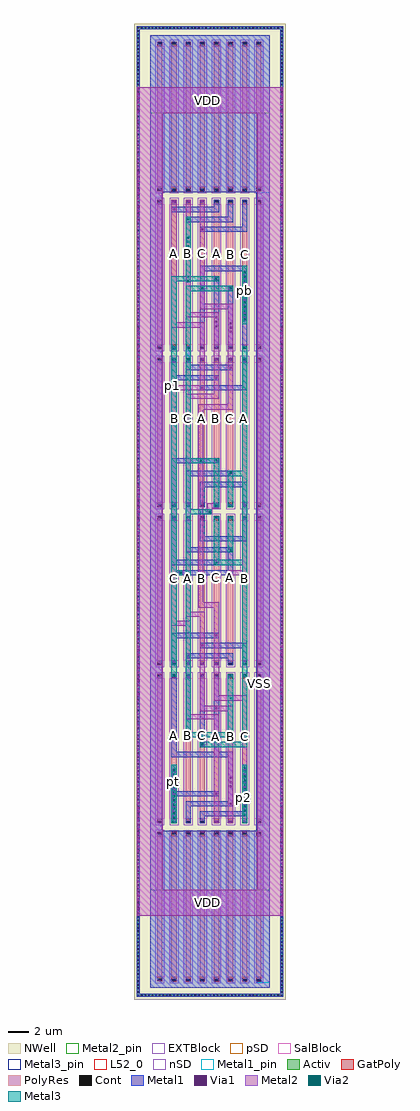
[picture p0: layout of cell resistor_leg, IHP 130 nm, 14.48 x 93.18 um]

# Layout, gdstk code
from math import pi, radians
import gdstk
lib = gdstk.Library(unit=1e-6, precision=1e-09)
def R(c, l, rs):  # rectangles x0, y0, x1, y1
    for r in rs: c.add(gdstk.rectangle(r[:2], r[2:], *l))
def A(c, l, x, y, w, h, nx, ny, dx, dy):  # array of equal rectangles
    R(c, l, [(x+i*dx, y+j*dy, x+i*dx+w, y+j*dy+h) for i in range(nx) for j in range(ny)])
def P(c, l, *ps):  # polygons
    for p in ps: c.add(gdstk.Polygon(p, *l))
Activ = (1, 0)
GatPoly = (5, 0)
Cont = (6, 0)
nSD = (7, 0)
Metal1 = (8, 0)
Metal1_pin = (8, 2)
Metal2 = (10, 0)
Metal2_pin = (10, 2)
pSD = (14, 0)
Via1 = (19, 0)
SalBlock = (28, 0)
Via2 = (29, 0)
Metal3 = (30, 0)
Metal3_pin = (30, 2)
NWell = (31, 0)
L52_0 = (52, 0)
EXTBlock = (111, 0)
PolyRes = (128, 0)

via_stack_1 = lib.new_cell('via_stack$1')
R(via_stack_1, Metal1, [(-0.145,-0.105,0.145,0.105)])
R(via_stack_1, Metal2, [(-0.145,-0.1,0.145,0.1)])
R(via_stack_1, Via1, [(-0.095,-0.095,0.095,0.095)])
R(via_stack_1, Via2, [(-0.095,-0.095,0.095,0.095)])
R(via_stack_1, Metal3, [(-0.145,-0.1,0.145,0.1)])

guard_ring = lib.new_cell('guard_ring')
R(guard_ring, Activ, [(-7,-46.05,-6.7,46.05), (6.7,-46.05,7,46.05), (-7,46.05,7,46.35)])
P(guard_ring, Activ, [(-7,-46.35),(-7,46.05),(-6.7,46.05),(-6.7,-46.05),(6.7,-46.05),(6.7,46.05),(-7,46.05),(-7,46.35),(7,46.35),(7,-46.35)])
A(guard_ring, Cont, -6.93, -46.28, 0.16, 0.16, 20, 2, 0.34, 92.4)
A(guard_ring, Cont, -0.03, -46.28, 0.16, 0.16, 21, 2, 0.34, 92.4)
A(guard_ring, Cont, -6.93, -45.94, 0.16, 0.16, 1, 135, 0, 0.34)
A(guard_ring, Cont, 6.77, -45.94, 0.16, 0.16, 1, 135, 0, 0.34)
A(guard_ring, Cont, -6.93, 0.22, 0.16, 0.16, 1, 135, 0, 0.34)
A(guard_ring, Cont, 6.77, 0.22, 0.16, 0.16, 1, 135, 0, 0.34)
R(guard_ring, Metal1, [(-7,-46.35,7,-46.05), (-7,-46.05,-6.7,46.05), (6.7,-46.05,7,46.05), (-7,46.05,7,46.35)])
R(guard_ring, NWell, [(-7.24,-46.59,7.24,46.59)])
guard_ring.add(gdstk.Label('well', (0,-46.2), layer=63, texttype=0))

via_stack_11 = lib.new_cell('via_stack$11')
R(via_stack_11, Metal1, [(-0.105,-2.4,0.105,2.4)])
R(via_stack_11, Metal2, [(-0.1,-2.4,0.1,2.4)])
A(via_stack_11, Via1, -0.095, -2.35, 0.19, 0.19, 1, 12, 0, 0.41)

rhigh = lib.new_cell('rhigh')
R(rhigh, GatPoly, [(0,-0.43,0.5,0), (0,13.42,0.5,13.85)])
R(rhigh, Cont, [(0.07,-0.36,0.43,-0.2), (0.07,13.62,0.43,13.78)])
R(rhigh, nSD, [(-0.18,-0.61,0.68,0.18), (-0.18,0,0.68,13.42), (-0.18,0,0.68,13.42), (-0.18,13.24,0.68,14.03)])
R(rhigh, Metal1, [(0.02,-0.41,0.48,-0.15), (0.02,13.57,0.48,13.83)])
R(rhigh, Metal1_pin, [(0.02,-0.41,0.48,-0.15), (0.02,13.57,0.48,13.83)])
R(rhigh, pSD, [(-0.18,-0.61,0.68,0.18), (-0.18,0,0.68,13.42), (-0.18,0,0.68,13.42), (-0.18,13.24,0.68,14.03)])
R(rhigh, SalBlock, [(-0.2,0,0.7,13.42)])
R(rhigh, L52_0, [(0,0,0.5,13.42)])
R(rhigh, EXTBlock, [(-0.18,-0.61,0.68,0.18), (-0.2,0,0.7,13.42), (-0.18,13.24,0.68,14.03)])
R(rhigh, PolyRes, [(0,0,0.5,13.42)])
rhigh.add(gdstk.Label('rhigh r=39996.522', (0.25,6.71), layer=63, texttype=0))
rhigh.add(gdstk.Label('rhigh', (0.25,6.71), layer=52, texttype=0))

via_stack = lib.new_cell('via_stack')
R(via_stack, Metal1, [(-0.145,-0.105,0.145,0.105)])
R(via_stack, Metal2, [(-0.145,-0.1,0.145,0.1)])
R(via_stack, Via1, [(-0.095,-0.095,0.095,0.095)])

via_stack_3 = lib.new_cell('via_stack$3')
R(via_stack_3, Metal2, [(-0.1,-0.35,0.1,0.35)])
R(via_stack_3, Via2, [(-0.095,-0.3,0.095,-0.11), (-0.095,0.11,0.095,0.3)])
R(via_stack_3, Metal3, [(-0.1,-0.35,0.1,0.35)])

via_stack_9 = lib.new_cell('via_stack$9')
R(via_stack_9, Metal1, [(-0.105,-0.555,0.105,0.555)])
R(via_stack_9, Metal2, [(-0.1,-0.555,0.1,0.555)])
A(via_stack_9, Via1, -0.095, -0.505, 0.19, 0.19, 1, 3, 0, 0.41)

via_stack_6 = lib.new_cell('via_stack$6')
R(via_stack_6, Metal2, [(-0.555,-0.1,0.555,0.1)])
A(via_stack_6, Via2, -0.505, -0.095, 0.19, 0.19, 3, 1, 0.41, 0)
R(via_stack_6, Metal3, [(-0.555,-0.1,0.555,0.1)])

via_stack_7 = lib.new_cell('via_stack$7')
R(via_stack_7, Metal2, [(-0.145,-0.1,0.145,0.1)])
R(via_stack_7, Via2, [(-0.095,-0.095,0.095,0.095)])
R(via_stack_7, Metal3, [(-0.145,-0.1,0.145,0.1)])

via_stack_8 = lib.new_cell('via_stack$8')
R(via_stack_8, Metal1, [(-0.105,-1.17,0.105,1.17)])
R(via_stack_8, Metal2, [(-0.1,-1.17,0.1,1.17)])
A(via_stack_8, Via1, -0.095, -1.12, 0.19, 0.19, 1, 6, 0, 0.41)

via_stack_10 = lib.new_cell('via_stack$10')
R(via_stack_10, Metal1, [(-0.105,-2.4,0.105,2.4)])
R(via_stack_10, Metal2, [(-0.1,-2.4,0.1,2.4)])
A(via_stack_10, Via1, -0.095, -2.35, 0.19, 0.19, 1, 12, 0, 0.41)
A(via_stack_10, Via2, -0.095, -2.35, 0.19, 0.19, 1, 12, 0, 0.41)
R(via_stack_10, Metal3, [(-0.1,-2.4,0.1,2.4)])

via_stack_4 = lib.new_cell('via_stack$4')
R(via_stack_4, Metal1, [(-0.555,-0.105,0.555,0.105)])
R(via_stack_4, Metal2, [(-0.555,-0.1,0.555,0.1)])
A(via_stack_4, Via1, -0.505, -0.095, 0.19, 0.19, 3, 1, 0.41, 0)

resistor_leg = lib.new_cell('resistor_leg')
R(resistor_leg, Metal1, [(23.385,-41.985,34.785,-41.51), (23.385,-41.51,24.05,33.94), (34,-41.51,34.785,48.915), (24.55,-41.01,33.5,-27.53), (25.4,-26.3,25.9,-20.73), (33.52,18.97,33.98,26.905), (23.385,33.94,24.05,48.915), (24.55,34.44,33.5,34.5), (24.05,34.5,34.2,47.92), (24.05,48.3,24.07,48.42), (33.98,48.3,34,48.915), (24.05,48.42,33.98,48.915)])
P(resistor_leg, Metal1, [(24.05,-41.51),(24.05,-27.53),(24.55,-27.53),(24.55,-41.01),(33.5,-41.01),(33.5,-27.53),(24.05,-27.53),(24.05,33.94),(24.55,33.94),(24.55,-27.03),(33.5,-27.03),(33.5,33.94),(24.05,33.94),(24.05,48.3),(24.55,48.3),(24.55,34.44),(33.5,34.44),(33.5,48.3),(34,48.3),(34,-41.51)],
  [(24.55,-29.08),(24.55,-27.53),(24.55,-27.53),(24.55,-29.08)])
R(resistor_leg, Metal1_pin, [(33.5,-41.525,34.785,-27.53), (33.5,-27.53,34.785,33.94)])
R(resistor_leg, Metal2, [(28.1,-18.925,28.6,-18.625), (26.75,-18,27.25,-17.7), (25.395,-12.34,25.895,-12.04), (30.8,-12.34,31.3,-12.04), (32.155,-12.34,32.655,-12.04), (26.16,-2.635,26.46,-2.135), (29.45,-1.625,29.95,-1.325), (30.8,-0.395,31.3,-0.095), (29.455,2.75,29.955,3.05), (30.81,2.75,31.31,3.05), (28.8,3.285,29.3,3.585), (29.455,3.86,29.955,4.16), (30.8,3.86,31.3,4.16), (30.8,7.005,31.3,7.305), (29.45,8.235,29.95,8.535), (25.395,18.95,25.895,19.25), (26.75,18.95,27.25,19.25), (32.155,18.95,32.655,19.25), (30.8,24.61,31.3,24.91), (29.45,25.535,29.95,25.835)])
R(resistor_leg, Metal2_pin, [(23.385,-35.13,34.785,-32.63), (23.385,41.47,34.785,43.97)])
R(resistor_leg, Metal3, [(25.4,-26.3,25.9,-20.73), (32.15,-26.3,32.65,-20.73), (32.15,21.335,32.65,26.905), (26.75,25.335,27.1,26.035), (26.75,25.335,27.25,26.035)])
P(resistor_leg, Metal3, [(34.785,-27.53),(34.785,-27.53),(34.785,-27.53),(34.785,-27.53)])
R(resistor_leg, Metal3_pin, [(25.4,-26.3,25.9,-20.73), (32.15,-26.3,32.65,-20.73), (25.4,13.4,25.9,18.97), (32.15,21.335,32.65,26.905), (32.15,21.335,32.65,26.905)])
resistor_leg.add(gdstk.FlexPath([(28.1,15.28),(31.05,15.28)], 0.5, ends="flush", simple_path=True, layer=8, datatype=0))  # Metal1
resistor_leg.add(gdstk.FlexPath([(31.05,15.28),(32.4,15.28),(32.4,18.12)], 0.5, ends="flush", simple_path=True, layer=8, datatype=0))  # Metal1
resistor_leg.add(gdstk.FlexPath([(29.95,16.23),(25.65,16.23)], 0.5, ends="flush", simple_path=True, layer=8, datatype=0))  # Metal1
resistor_leg.add(gdstk.FlexPath([(25.65,18.12),(25.65,15.98)], 0.5, ends="flush", simple_path=True, layer=8, datatype=0))  # Metal1
resistor_leg.add(gdstk.FlexPath([(29.95,-8.37),(27,-8.37)], 0.5, ends="flush", simple_path=True, layer=8, datatype=0))  # Metal1
resistor_leg.add(gdstk.FlexPath([(27,-8.37),(25.65,-8.37),(25.65,-11.21)], 0.5, ends="flush", simple_path=True, layer=8, datatype=0))  # Metal1
resistor_leg.add(gdstk.FlexPath([(28.1,-9.32),(32.4,-9.32)], 0.5, ends="flush", simple_path=True, layer=8, datatype=0))  # Metal1
resistor_leg.add(gdstk.FlexPath([(32.4,-11.21),(32.4,-9.07)], 0.5, ends="flush", simple_path=True, layer=8, datatype=0))  # Metal1
resistor_leg.add(gdstk.FlexPath([(26.75,-10.3),(31.05,-10.3)], 0.5, ends="flush", simple_path=True, layer=8, datatype=0))  # Metal1
resistor_leg.add(gdstk.FlexPath([(31.05,-11.21),(31.05,-10.05)], 0.5, ends="flush", simple_path=True, layer=8, datatype=0))  # Metal1
resistor_leg.add(gdstk.FlexPath([(29.95,-23.49),(25.4,-23.49)], 0.5, ends="flush", simple_path=True, layer=8, datatype=0))  # Metal1
resistor_leg.add(gdstk.FlexPath([(31.3,-24.44),(26.75,-24.44)], 0.5, ends="flush", simple_path=True, layer=8, datatype=0))  # Metal1
resistor_leg.add(gdstk.FlexPath([(32.65,-25.39),(28.1,-25.39)], 0.5, ends="flush", simple_path=True, layer=8, datatype=0))  # Metal1
resistor_leg.add(gdstk.FlexPath([(28.35,-26.3),(28.35,-25.14)], 0.5, ends="flush", simple_path=True, layer=8, datatype=0))  # Metal1
resistor_leg.add(gdstk.FlexPath([(27,-26.3),(27,-24.19)], 0.5, ends="flush", simple_path=True, layer=8, datatype=0))  # Metal1
resistor_leg.add(gdstk.FlexPath([(25.65,-26.3),(25.65,-23.24)], 0.5, ends="flush", simple_path=True, layer=8, datatype=0))  # Metal1
resistor_leg.add(gdstk.FlexPath([(31.3,17.21),(27,17.21)], 0.5, ends="flush", simple_path=True, layer=8, datatype=0))  # Metal1
resistor_leg.add(gdstk.FlexPath([(27,18.12),(27,16.96)], 0.5, ends="flush", simple_path=True, layer=8, datatype=0))  # Metal1
resistor_leg.add(gdstk.FlexPath([(31.05,18.97),(31.05,25.01)], 0.5, ends="flush", simple_path=True, layer=8, datatype=0))  # Metal1
resistor_leg.add(gdstk.FlexPath([(29.7,18.97),(29.7,25.935)], 0.5, ends="flush", simple_path=True, layer=8, datatype=0))  # Metal1
resistor_leg.add(gdstk.FlexPath([(32.4,18.97),(32.4,26.655),(28.35,26.655),(28.35,18.97)], 0.5, ends="flush", simple_path=True, layer=8, datatype=0))  # Metal1
resistor_leg.add(gdstk.FlexPath([(27,-12.06),(27,-18.1)], 0.5, ends="flush", simple_path=True, layer=8, datatype=0))  # Metal1
resistor_leg.add(gdstk.FlexPath([(28.35,-12.06),(28.35,-19.025)], 0.5, ends="flush", simple_path=True, layer=8, datatype=0))  # Metal1
resistor_leg.add(gdstk.FlexPath([(25.65,-12.06),(25.65,-19.745),(29.7,-19.745),(29.7,-12.06)], 0.5, ends="flush", simple_path=True, layer=8, datatype=0))  # Metal1
resistor_leg.add(gdstk.FlexPath([(32.4,3.03),(32.4,0.87),(28.35,0.87),(28.35,3.03)], 0.5, ends="flush", simple_path=True, layer=8, datatype=0))  # Metal1
resistor_leg.add(gdstk.FlexPath([(31.3,-0.185),(27,-0.185)], 0.5, ends="flush", simple_path=True, layer=8, datatype=0))  # Metal1
resistor_leg.add(gdstk.FlexPath([(27,-0.435),(27,3.03)], 0.5, ends="flush", simple_path=True, layer=8, datatype=0))  # Metal1
resistor_leg.add(gdstk.FlexPath([(29.95,-1.405),(25.65,-1.405)], 0.5, ends="flush", simple_path=True, layer=8, datatype=0))  # Metal1
resistor_leg.add(gdstk.FlexPath([(25.65,-1.655),(25.65,3.03)], 0.5, ends="flush", simple_path=True, layer=8, datatype=0))  # Metal1
resistor_leg.add(gdstk.FlexPath([(32.4,3.88),(32.4,6.04),(28.35,6.04),(28.35,3.88)], 0.5, ends="flush", simple_path=True, layer=8, datatype=0))  # Metal1
resistor_leg.add(gdstk.FlexPath([(31.3,7.095),(27,7.095)], 0.5, ends="flush", simple_path=True, layer=8, datatype=0))  # Metal1
resistor_leg.add(gdstk.FlexPath([(27,7.345),(27,3.88)], 0.5, ends="flush", simple_path=True, layer=8, datatype=0))  # Metal1
resistor_leg.add(gdstk.FlexPath([(29.95,8.315),(25.65,8.315)], 0.5, ends="flush", simple_path=True, layer=8, datatype=0))  # Metal1
resistor_leg.add(gdstk.FlexPath([(25.65,8.565),(25.65,3.88)], 0.5, ends="flush", simple_path=True, layer=8, datatype=0))  # Metal1
resistor_leg.add(gdstk.FlexPath([(29.195,3.435),(28.35,3.435),(28.35,2.77)], 0.5, ends="flush", simple_path=True, layer=8, datatype=0))  # Metal1
resistor_leg.add(gdstk.FlexPath([(31.05,0.06),(31.05,-2.385),(25.9,-2.385)], 0.5, ends="flush", simple_path=True, layer=8, datatype=0))  # Metal1
resistor_leg.add(gdstk.FlexPath([(27,17.86),(27,19.25)], 0.5, ends="flush", simple_path=True, layer=8, datatype=0))  # Metal1
resistor_leg.add(gdstk.FlexPath([(29.7,-19.745),(31.05,-19.745),(31.05,-24.69)], 0.5, ends="flush", simple_path=True, layer=8, datatype=0))  # Metal1
resistor_leg.add(gdstk.FlexPath([(24.07,48.17),(33.98,48.17)], 0.5, ends="flush", simple_path=True, layer=8, datatype=0))  # Metal1
resistor_leg.add(gdstk.FlexPath([(28.1,30.4),(32.65,30.4)], 0.5, ends="flush", simple_path=True, layer=8, datatype=0))  # Metal1
resistor_leg.add(gdstk.FlexPath([(26.75,31.35),(31.3,31.35)], 0.5, ends="flush", simple_path=True, layer=8, datatype=0))  # Metal1
resistor_leg.add(gdstk.FlexPath([(25.4,32.3),(29.95,32.3)], 0.5, ends="flush", simple_path=True, layer=8, datatype=0))  # Metal1
resistor_leg.add(gdstk.FlexPath([(29.7,33.21),(29.7,32.05)], 0.5, ends="flush", simple_path=True, layer=8, datatype=0))  # Metal1
resistor_leg.add(gdstk.FlexPath([(31.05,33.21),(31.05,31.1)], 0.5, ends="flush", simple_path=True, layer=8, datatype=0))  # Metal1
resistor_leg.add(gdstk.FlexPath([(32.4,33.21),(32.4,30.15)], 0.5, ends="flush", simple_path=True, layer=8, datatype=0))  # Metal1
resistor_leg.add(gdstk.FlexPath([(23.385,-33.88),(23.335,-33.88),(23.335,42.72),(23.385,42.72)], 2.5, ends="flush", simple_path=True, layer=10, datatype=0))  # Metal2
resistor_leg.add(gdstk.FlexPath([(34.785,42.72),(34.835,42.72),(34.835,-33.88),(34.785,-33.88)], 2.5, ends="flush", simple_path=True, layer=10, datatype=0))  # Metal2
resistor_leg.add(gdstk.FlexPath([(32.4,-21.47),(32.4,-26.3)], 0.5, ends="flush", simple_path=True, layer=10, datatype=0))  # Metal2
resistor_leg.add(gdstk.FlexPath([(28.35,18.12),(28.35,15.03)], 0.5, ends="flush", simple_path=True, layer=10, datatype=0))  # Metal2
resistor_leg.add(gdstk.FlexPath([(29.7,18.12),(29.7,15.98)], 0.5, ends="flush", simple_path=True, layer=10, datatype=0))  # Metal2
resistor_leg.add(gdstk.FlexPath([(31.05,18.12),(31.05,16.96)], 0.5, ends="flush", simple_path=True, layer=10, datatype=0))  # Metal2
resistor_leg.add(gdstk.FlexPath([(28.35,30.15),(28.35,23.03),(31.05,23.03),(31.05,17.86)], 0.5, ends="flush", simple_path=True, layer=10, datatype=0))  # Metal2
resistor_leg.add(gdstk.FlexPath([(25.65,28.38),(25.65,21.26),(28.35,21.26),(28.35,17.86)], 0.5, ends="flush", simple_path=True, layer=10, datatype=0))  # Metal2
resistor_leg.add(gdstk.FlexPath([(27,29.365),(27,22.245),(27,22.245),(29.7,22.245),(29.7,17.885)], 0.5, ends="flush", simple_path=True, layer=10, datatype=0))  # Metal2
resistor_leg.add(gdstk.FlexPath([(29.7,-11.21),(29.7,-8.12)], 0.5, ends="flush", simple_path=True, layer=10, datatype=0))  # Metal2
resistor_leg.add(gdstk.FlexPath([(28.35,-11.21),(28.35,-9.07)], 0.5, ends="flush", simple_path=True, layer=10, datatype=0))  # Metal2
resistor_leg.add(gdstk.FlexPath([(27,-11.21),(27,-10.05)], 0.5, ends="flush", simple_path=True, layer=10, datatype=0))  # Metal2
resistor_leg.add(gdstk.FlexPath([(29.7,-23.24),(29.7,-16.12),(27,-16.12),(27,-10.95)], 0.5, ends="flush", simple_path=True, layer=10, datatype=0))  # Metal2
resistor_leg.add(gdstk.FlexPath([(32.4,-21.47),(32.4,-14.35),(29.7,-14.35),(29.7,-10.95)], 0.5, ends="flush", simple_path=True, layer=10, datatype=0))  # Metal2
resistor_leg.add(gdstk.FlexPath([(31.05,-22.455),(31.05,-15.335),(31.05,-15.335),(28.35,-15.335),(28.35,-10.975)], 0.5, ends="flush", simple_path=True, layer=10, datatype=0))  # Metal2
resistor_leg.add(gdstk.FlexPath([(32.4,-26.3),(32.4,-25.14)], 0.5, ends="flush", simple_path=True, layer=10, datatype=0))  # Metal2
resistor_leg.add(gdstk.FlexPath([(31.05,-26.3),(31.05,-24.19)], 0.5, ends="flush", simple_path=True, layer=10, datatype=0))  # Metal2
resistor_leg.add(gdstk.FlexPath([(29.7,-26.3),(29.7,-23.24)], 0.5, ends="flush", simple_path=True, layer=10, datatype=0))  # Metal2
resistor_leg.add(gdstk.FlexPath([(31.05,-24.19),(31.05,-22.455)], 0.5, ends="flush", simple_path=True, layer=10, datatype=0))  # Metal2
resistor_leg.add(gdstk.FlexPath([(28.35,-9.57),(28.35,-6.355),(27,-6.355),(27,14.465),(29.7,14.465),(29.7,16.48)], 0.5, ends="flush", simple_path=True, layer=10, datatype=0))  # Metal2
resistor_leg.add(gdstk.FlexPath([(29.7,-8.12),(29.7,-5.455),(28.2,-5.455),(28.2,13.44),(31.05,13.44),(31.05,16.96)], 0.5, ends="flush", simple_path=True, layer=10, datatype=0))  # Metal2
resistor_leg.add(gdstk.FlexPath([(27,-10.05),(27,-7.205),(25.65,-7.205),(25.65,15.28),(28.6,15.28)], 0.5, ends="flush", simple_path=True, layer=10, datatype=0))  # Metal2
resistor_leg.add(gdstk.FlexPath([(30.945,-2.385),(32.4,-2.385),(32.4,4.14)], 0.5, ends="flush", simple_path=True, layer=10, datatype=0))  # Metal2
resistor_leg.add(gdstk.FlexPath([(29.05,3.285),(29.05,4.01),(29.955,4.01)], 0.5, ends="flush", simple_path=True, layer=10, datatype=0))  # Metal2
resistor_leg.add(gdstk.FlexPath([(25.65,33.21),(25.65,32.05)], 0.5, ends="flush", simple_path=True, layer=10, datatype=0))  # Metal2
resistor_leg.add(gdstk.FlexPath([(27,33.21),(27,31.1)], 0.5, ends="flush", simple_path=True, layer=10, datatype=0))  # Metal2
resistor_leg.add(gdstk.FlexPath([(28.35,33.21),(28.35,30.15)], 0.5, ends="flush", simple_path=True, layer=10, datatype=0))  # Metal2
resistor_leg.add(gdstk.FlexPath([(27,31.1),(27,29.365)], 0.5, ends="flush", simple_path=True, layer=10, datatype=0))  # Metal2
resistor_leg.add(gdstk.FlexPath([(25.65,32.05),(25.65,28.38)], 0.5, ends="flush", simple_path=True, layer=10, datatype=0))  # Metal2
resistor_leg.add(gdstk.FlexPath([(34.785,-33.88),(23.385,-33.88)], 2.5, ends="flush", simple_path=True, layer=10, datatype=0))  # Metal2
resistor_leg.add(gdstk.FlexPath([(34.785,42.72),(23.385,42.72)], 2.5, ends="flush", simple_path=True, layer=10, datatype=0))  # Metal2
resistor_leg.add(gdstk.FlexPath([(27,18.97),(27,24.76),(31.3,24.76)], 0.5, ends="flush", simple_path=True, layer=30, datatype=0))  # Metal3
resistor_leg.add(gdstk.FlexPath([(25.65,18.97),(25.65,25.685),(29.95,25.685)], 0.5, ends="flush", simple_path=True, layer=30, datatype=0))  # Metal3
resistor_leg.add(gdstk.FlexPath([(31.05,-12.06),(31.05,-17.85),(26.75,-17.85)], 0.5, ends="flush", simple_path=True, layer=30, datatype=0))  # Metal3
resistor_leg.add(gdstk.FlexPath([(32.4,-12.06),(32.4,-18.775),(28.1,-18.775)], 0.5, ends="flush", simple_path=True, layer=30, datatype=0))  # Metal3
resistor_leg.add(gdstk.FlexPath([(32.4,19.23),(32.4,-12.32)], 0.5, ends="flush", simple_path=True, layer=30, datatype=0))  # Metal3
resistor_leg.add(gdstk.FlexPath([(25.65,-12.32),(25.65,19.23)], 0.5, ends="flush", simple_path=True, layer=30, datatype=0))  # Metal3
resistor_leg.add(gdstk.FlexPath([(27,-18.1),(27,19.23)], 0.5, ends="flush", simple_path=True, layer=30, datatype=0))  # Metal3
resistor_leg.add(gdstk.FlexPath([(29.7,3.03),(29.7,-0.45)], 0.5, ends="flush", simple_path=True, layer=30, datatype=0))  # Metal3
resistor_leg.add(gdstk.FlexPath([(31.05,3.03),(31.05,-0.435)], 0.5, ends="flush", simple_path=True, layer=30, datatype=0))  # Metal3
resistor_leg.add(gdstk.FlexPath([(29.7,-0.45),(29.7,-1.655)], 0.5, ends="flush", simple_path=True, layer=30, datatype=0))  # Metal3
resistor_leg.add(gdstk.FlexPath([(29.7,3.88),(29.7,7.36)], 0.5, ends="flush", simple_path=True, layer=30, datatype=0))  # Metal3
resistor_leg.add(gdstk.FlexPath([(31.05,3.88),(31.05,7.345)], 0.5, ends="flush", simple_path=True, layer=30, datatype=0))  # Metal3
resistor_leg.add(gdstk.FlexPath([(29.7,7.36),(29.7,8.565)], 0.5, ends="flush", simple_path=True, layer=30, datatype=0))  # Metal3
resistor_leg.add(gdstk.FlexPath([(29.45,-1.405),(32.4,-1.405)], 0.5, ends="flush", simple_path=True, layer=30, datatype=0))  # Metal3
resistor_leg.add(gdstk.FlexPath([(30.8,7.095),(32.4,7.095)], 0.5, ends="flush", simple_path=True, layer=30, datatype=0))  # Metal3
resistor_leg.add(gdstk.FlexPath([(29.95,8.315),(27,8.315)], 0.5, ends="flush", simple_path=True, layer=30, datatype=0))  # Metal3
resistor_leg.add(gdstk.FlexPath([(29.195,3.435),(27,3.435)], 0.5, ends="flush", simple_path=True, layer=30, datatype=0))  # Metal3
resistor_leg.add(gdstk.FlexPath([(26.415,-2.385),(25.65,-2.385)], 0.5, ends="flush", simple_path=True, layer=30, datatype=0))  # Metal3
resistor_leg.add(gdstk.FlexPath([(27,25.685),(27,31.6)], 0.5, ends="flush", simple_path=True, layer=30, datatype=0))  # Metal3
resistor_leg.add(gdstk.Reference(via_stack_1, (29.05,3.435)))
resistor_leg.add(gdstk.Reference(guard_ring, (29.085,3.465)))
resistor_leg.add(gdstk.Reference(via_stack_11, (35.935,3.665)))
resistor_leg.add(gdstk.Reference(via_stack_11, (22.23,3.655)))
resistor_leg.add(gdstk.Reference(rhigh, (29.45,19.38)))
resistor_leg.add(gdstk.Reference(rhigh, (32.15,19.38)))
resistor_leg.add(gdstk.Reference(rhigh, (29.45,4.29)))
resistor_leg.add(gdstk.Reference(rhigh, (33.5,19.38)))
resistor_leg.add(gdstk.Reference(rhigh, (24.05,4.29)))
resistor_leg.add(gdstk.Reference(rhigh, (26.75,4.29)))
resistor_leg.add(gdstk.Reference(rhigh, (30.8,4.29)))
resistor_leg.add(gdstk.Reference(rhigh, (28.1,19.38)))
resistor_leg.add(gdstk.Reference(rhigh, (25.4,19.38)))
resistor_leg.add(gdstk.Reference(rhigh, (26.75,19.38)))
resistor_leg.add(gdstk.Reference(rhigh, (24.05,19.38)))
resistor_leg.add(gdstk.Reference(rhigh, (25.4,34.47)))
resistor_leg.add(gdstk.Reference(rhigh, (24.05,34.47)))
resistor_leg.add(gdstk.Reference(rhigh, (26.75,34.47)))
resistor_leg.add(gdstk.Reference(rhigh, (28.1,34.47)))
resistor_leg.add(gdstk.Reference(rhigh, (29.45,34.47)))
resistor_leg.add(gdstk.Reference(rhigh, (32.15,34.47)))
resistor_leg.add(gdstk.Reference(rhigh, (30.8,34.47)))
resistor_leg.add(gdstk.Reference(rhigh, (33.5,34.47)))
resistor_leg.add(gdstk.Reference(via_stack, (25.65,33.085)))
resistor_leg.add(gdstk.Reference(via_stack, (27,33.08)))
resistor_leg.add(gdstk.Reference(via_stack, (28.35,33.085)))
resistor_leg.add(gdstk.Reference(via_stack, (29.7,17.99)))
resistor_leg.add(gdstk.Reference(via_stack, (28.35,18)))
resistor_leg.add(gdstk.Reference(via_stack, (28.35,15.28)))
resistor_leg.add(gdstk.Reference(via_stack_1, (27,31.35)))
resistor_leg.add(gdstk.Reference(via_stack, (29.7,16.23)))
resistor_leg.add(gdstk.Reference(via_stack, (28.35,30.4)))
resistor_leg.add(gdstk.Reference(via_stack, (31.05,17.21)))
resistor_leg.add(gdstk.Reference(via_stack, (31.05,17.995)))
resistor_leg.add(gdstk.Reference(via_stack, (25.65,32.3)))
resistor_leg.add(gdstk.Reference(via_stack_1, (32.405,19.1)))
resistor_leg.add(gdstk.Reference(via_stack_1, (27,19.1)))
resistor_leg.add(gdstk.Reference(via_stack_1, (25.645,19.1)))
resistor_leg.add(gdstk.Reference(via_stack_1, (29.7,25.685)))
resistor_leg.add(gdstk.Reference(via_stack_1, (31.05,24.76)))
resistor_leg.add(gdstk.Reference(via_stack_1, (31.06,4.01), x_reflection=True))
resistor_leg.add(gdstk.Reference(via_stack_1, (29.705,4.01), x_reflection=True))
resistor_leg.add(gdstk.Reference(via_stack_1, (31.05,7.155), x_reflection=True))
resistor_leg.add(gdstk.Reference(via_stack_1, (29.7,8.385), x_reflection=True))
resistor_leg.add(gdstk.Reference(rhigh, (33.5,4.29)))
resistor_leg.add(gdstk.Reference(via_stack, (32.405,4), rotation=pi))
resistor_leg.add(gdstk.Reference(via_stack_3, (27,25.685)))
resistor_leg.add(gdstk.Reference(via_stack_9, (29.7,21.58)))
resistor_leg.add(gdstk.Reference(via_stack_6, (27,29.195), rotation=pi/2))
resistor_leg.add(gdstk.Reference(via_stack_7, (28.2,8.32), rotation=pi/2))
resistor_leg.add(gdstk.Reference(via_stack_7, (28.35,24.76), rotation=pi/2))
resistor_leg.add(gdstk.Reference(via_stack_9, (31.05,21.015), rotation=pi))
resistor_leg.add(gdstk.Reference(rhigh, (32.15,4.29)))
resistor_leg.add(gdstk.Reference(via_stack_8, (22.245,42.72)))
resistor_leg.add(gdstk.Reference(via_stack_8, (35.95,42.7)))
resistor_leg.add(gdstk.Reference(rhigh, (25.4,4.29)))
resistor_leg.add(gdstk.Reference(via_stack_10, (32.4,24.055)))
resistor_leg.add(gdstk.Reference(via_stack_11, (35.93,18.615)))
resistor_leg.add(gdstk.Reference(via_stack_11, (22.235,18.63)))
resistor_leg.add(gdstk.Reference(via_stack_11, (22.235,33.58)))
resistor_leg.add(gdstk.Reference(via_stack_11, (35.935,33.585)))
resistor_leg.add(gdstk.Reference(rhigh, (28.1,4.29)))
resistor_leg.add(gdstk.Reference(rhigh, (30.8,19.38)))
resistor_leg.add(gdstk.Reference(rhigh, (25.4,-10.8)))
resistor_leg.add(gdstk.Reference(rhigh, (32.15,-10.8)))
resistor_leg.add(gdstk.Reference(via_stack, (29.7,-23.49), rotation=pi))
resistor_leg.add(gdstk.Reference(via_stack, (27,-10.3), rotation=pi))
resistor_leg.add(gdstk.Reference(via_stack, (27,-11.085), rotation=pi))
resistor_leg.add(gdstk.Reference(rhigh, (26.75,-10.8)))
resistor_leg.add(gdstk.Reference(via_stack_10, (32.395,-23.24)))
resistor_leg.add(gdstk.Reference(rhigh, (29.45,-25.89)))
resistor_leg.add(gdstk.Reference(rhigh, (29.45,-10.8)))
resistor_leg.add(gdstk.Reference(rhigh, (32.15,-25.89)))
resistor_leg.add(gdstk.Reference(rhigh, (30.8,-25.89)))
resistor_leg.add(gdstk.Reference(rhigh, (24.05,-25.89)))
resistor_leg.add(gdstk.Reference(via_stack_1, (25.645,-12.19), rotation=pi))
resistor_leg.add(gdstk.Reference(via_stack_1, (31.05,-12.19), rotation=pi))
resistor_leg.add(gdstk.Reference(via_stack_1, (32.405,-12.19), rotation=pi))
resistor_leg.add(gdstk.Reference(via_stack_1, (28.35,-18.775), rotation=pi))
resistor_leg.add(gdstk.Reference(via_stack_1, (27,-17.85), rotation=pi))
resistor_leg.add(gdstk.Reference(via_stack_1, (31.06,2.9)))
resistor_leg.add(gdstk.Reference(via_stack_1, (29.705,2.9)))
resistor_leg.add(gdstk.Reference(via_stack_1, (31.05,-0.245)))
resistor_leg.add(gdstk.Reference(via_stack_1, (29.7,-1.475)))
resistor_leg.add(gdstk.Reference(rhigh, (28.1,-10.8)))
resistor_leg.add(gdstk.Reference(rhigh, (28.1,-25.89)))
resistor_leg.add(gdstk.Reference(rhigh, (24.05,-10.8)))
resistor_leg.add(gdstk.Reference(rhigh, (33.5,-25.89)))
resistor_leg.add(gdstk.Reference(rhigh, (26.75,-25.89)))
resistor_leg.add(gdstk.Reference(via_stack_1, (26.31,-2.385), rotation=pi/2))
resistor_leg.add(gdstk.Reference(rhigh, (30.8,-10.8)))
resistor_leg.add(gdstk.Reference(via_stack, (31.05,-2.385), rotation=3*pi/2))
resistor_leg.add(gdstk.Reference(rhigh, (25.4,-25.89)))
resistor_leg.add(gdstk.Reference(via_stack, (32.4,-26.175), rotation=pi))
resistor_leg.add(gdstk.Reference(via_stack, (29.7,-15.335)))
resistor_leg.add(gdstk.Reference(via_stack_4, (31.055,-22.375), rotation=pi/2))
resistor_leg.add(gdstk.Reference(rhigh, (33.5,-40.98)))
resistor_leg.add(gdstk.Reference(via_stack_7, (31.05,-14.35), rotation=pi/2))
resistor_leg.add(gdstk.Reference(via_stack, (31.05,-26.17), rotation=pi))
resistor_leg.add(gdstk.Reference(via_stack, (29.7,-26.175), rotation=pi))
resistor_leg.add(gdstk.Reference(rhigh, (32.15,-40.98)))
resistor_leg.add(gdstk.Reference(rhigh, (30.8,-40.98)))
resistor_leg.add(gdstk.Reference(via_stack_10, (25.65,-23.495)))
resistor_leg.add(gdstk.Reference(via_stack, (28.35,-11.08), rotation=pi))
resistor_leg.add(gdstk.Reference(rhigh, (26.75,-40.98)))
resistor_leg.add(gdstk.Reference(rhigh, (29.45,-40.98)))
resistor_leg.add(gdstk.Reference(via_stack, (29.7,-11.09), rotation=pi))
resistor_leg.add(gdstk.Reference(via_stack_8, (22.245,-33.85)))
resistor_leg.add(gdstk.Reference(via_stack_8, (35.95,-33.87)))
resistor_leg.add(gdstk.Reference(via_stack, (29.7,-8.37), rotation=pi))
resistor_leg.add(gdstk.Reference(via_stack, (31.05,-24.44), rotation=pi))
resistor_leg.add(gdstk.Reference(via_stack, (28.35,-9.32), rotation=pi))
resistor_leg.add(gdstk.Reference(rhigh, (24.05,-40.95)))
resistor_leg.add(gdstk.Reference(rhigh, (25.4,-40.98)))
resistor_leg.add(gdstk.Reference(rhigh, (33.5,-10.8)))
resistor_leg.add(gdstk.Reference(rhigh, (28.1,-40.98)))
resistor_leg.add(gdstk.Reference(via_stack_11, (35.935,-11.695)))
resistor_leg.add(gdstk.Reference(via_stack_11, (22.23,-11.69)))
resistor_leg.add(gdstk.Reference(via_stack_11, (22.235,-26.65)))
resistor_leg.add(gdstk.Reference(via_stack_11, (35.94,-26.65)))
resistor_leg.add(gdstk.Label('A', (25.63,-17.945), layer=63, texttype=0))
resistor_leg.add(gdstk.Label('B', (26.92,-17.925), layer=63, texttype=0))
resistor_leg.add(gdstk.Label('C', (28.285,-17.945), layer=63, texttype=0))
resistor_leg.add(gdstk.Label('A', (25.59,28.095), layer=63, texttype=0))
resistor_leg.add(gdstk.Label('B', (26.965,28.065), layer=63, texttype=0))
resistor_leg.add(gdstk.Label('C', (28.315,28.08), layer=63, texttype=0))
resistor_leg.add(gdstk.Label('A', (29.675,28.14), layer=63, texttype=0))
resistor_leg.add(gdstk.Label('B', (30.995,28.02), layer=63, texttype=0))
resistor_leg.add(gdstk.Label('C', (32.36,28.005), layer=63, texttype=0))
resistor_leg.add(gdstk.Label('B', (25.66,12.345), layer=63, texttype=0))
resistor_leg.add(gdstk.Label('C', (26.94,12.365), layer=63, texttype=0))
resistor_leg.add(gdstk.Label('A', (28.28,12.38), layer=63, texttype=0))
resistor_leg.add(gdstk.Label('B', (29.65,12.38), layer=63, texttype=0))
resistor_leg.add(gdstk.Label('C', (30.97,12.365), layer=63, texttype=0))
resistor_leg.add(gdstk.Label('A', (32.325,12.345), layer=63, texttype=0))
resistor_leg.add(gdstk.Label('C', (25.59,-2.885), layer=63, texttype=0))
resistor_leg.add(gdstk.Label('A', (26.925,-2.885), layer=63, texttype=0))
resistor_leg.add(gdstk.Label('B', (28.32,-2.9), layer=63, texttype=0))
resistor_leg.add(gdstk.Label('C', (29.6,-2.845), layer=63, texttype=0))
resistor_leg.add(gdstk.Label('A', (30.96,-2.81), layer=63, texttype=0))
resistor_leg.add(gdstk.Label('B', (32.355,-2.9), layer=63, texttype=0))
resistor_leg.add(gdstk.Label('A', (29.625,-18.005), layer=63, texttype=0))
resistor_leg.add(gdstk.Label('B', (31.02,-18.005), layer=63, texttype=0))
resistor_leg.add(gdstk.Label('C', (32.36,-18.06), layer=63, texttype=0))
resistor_leg.add(gdstk.Label('pt', (25.625,-22.35), layer=30, texttype=25))
resistor_leg.add(gdstk.Label('p2', (32.33,-23.885), layer=30, texttype=25))
resistor_leg.add(gdstk.Label('p1', (25.535,15.525), layer=30, texttype=25))
resistor_leg.add(gdstk.Label('pb', (32.395,24.585), layer=30, texttype=25))
resistor_leg.add(gdstk.Label('VDD', (28.8,-33.88), layer=10, texttype=25))
resistor_leg.add(gdstk.Label('VDD', (28.8,42.72), layer=10, texttype=25))
resistor_leg.add(gdstk.Label('VSS', (33.795,-12.935), layer=8, texttype=25))

lib.write_gds('resistor_leg.gds')
